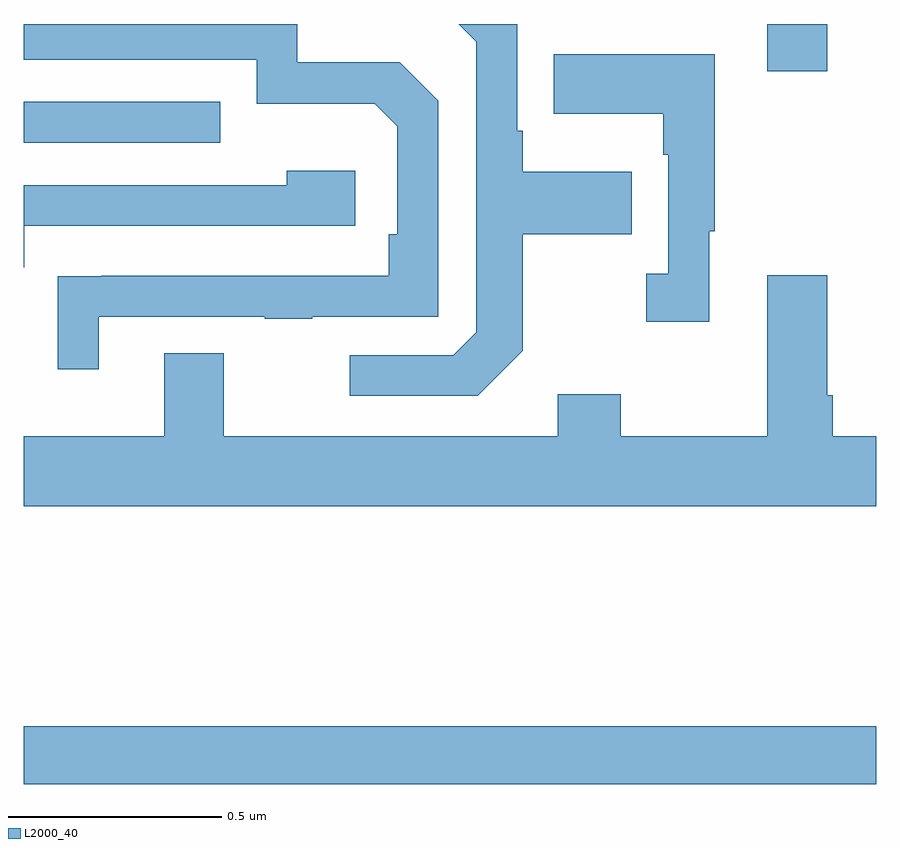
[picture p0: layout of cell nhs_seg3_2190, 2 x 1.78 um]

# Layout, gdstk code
import gdstk
lib = gdstk.Library(unit=1e-6, precision=1e-09)
def R(c, l, rs):  # rectangles x0, y0, x1, y1
    for r in rs: c.add(gdstk.rectangle(r[:2], r[2:], *l))
def P(c, l, *ps):  # polygons
    for p in ps: c.add(gdstk.Polygon(p, *l))
L2000_40 = (2000, 40)

nhs_seg3_2190 = lib.new_cell('nhs_seg3_2190')
R(nhs_seg3_2190, L2000_40, [(138,681.616,140,681.752), (138,683.121,138.461,683.217), (139.745,683.289,139.885,683.4)])
P(nhs_seg3_2190, L2000_40, [(138.175,682.713),(138.565,682.713),(138.565,682.708),(138.677,682.708),(138.677,682.713),(138.972,682.713),(138.972,683.22),(138.882,683.31),(138.642,683.31),(138.642,683.4),(138,683.4),(138,683.316),(138.546,683.316),(138.546,683.213),(138.823,683.213),(138.876,683.16),(138.876,682.906),(138.856,682.906),(138.856,682.809),(138.181,682.809),(138.181,682.808),(138.079,682.808),(138.079,682.59),(138.175,682.59)],
  [(139.171,682.633),(139.171,682.906),(139.427,682.906),(139.427,683.053),(139.171,683.053),(139.171,683.149),(139.158,683.149),(139.158,683.4),(139.02,683.4),(139.062,683.358),(139.062,682.677),(139.008,682.623),(138.765,682.623),(138.765,682.527),(139.065,682.527)],
  [(139.609,682.913),(139.621,682.913),(139.621,683.329),(139.243,683.329),(139.243,683.189),(139.5,683.189),(139.5,683.093),(139.512,683.093),(139.512,682.814),(139.461,682.814),(139.461,682.701),(139.609,682.701)],
  [(138.001,682.926),(138.778,682.926),(138.778,683.056),(138.617,683.056),(138.617,683.022),(138,683.022),(138,682.829),(138.001,682.829)],
  [(140,682.432),(139.898,682.432),(139.898,682.528),(139.885,682.528),(139.885,682.81),(139.745,682.81),(139.745,682.432),(139.401,682.432),(139.401,682.531),(139.253,682.531),(139.253,682.432),(138.469,682.432),(138.469,682.627),(138.329,682.627),(138.329,682.432),(138,682.432),(138,682.268),(140,682.268)])

lib.write_gds('nhs_seg3_2190.gds')
